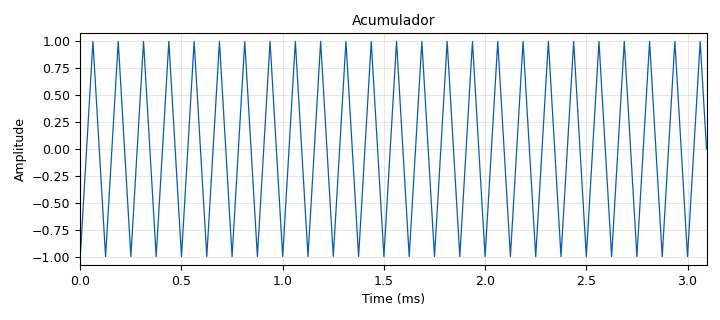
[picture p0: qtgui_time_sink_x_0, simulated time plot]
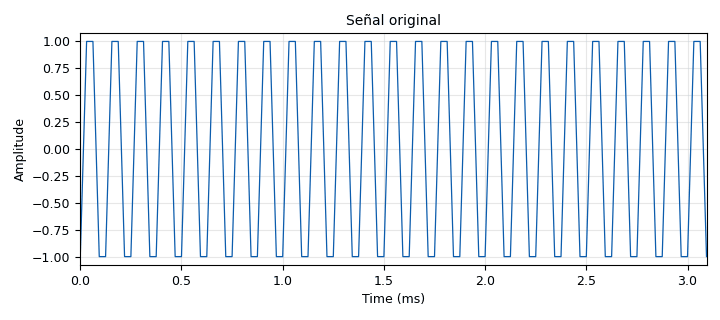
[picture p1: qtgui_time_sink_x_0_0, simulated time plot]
options:
  parameters:
    generate_options: qt_gui
    id: acumulador
    output_language: python
    title: Not titled yet
  states: {}

blocks:
- name: N
  id: variable
  parameters:
    value: '100'
  states: {}
- name: samp_rate
  id: variable
  parameters:
    value: 32e3
  states: {}
- name: analog_sig_source_x_0
  id: analog_sig_source_x
  parameters:
    amp: '1'
    freq: '8000'
    offset: '0'
    phase: '1.5708'
    samp_rate: samp_rate
    type: float
    waveform: analog.GR_SQR_WAVE
  states: {}
- name: blocks_add_const_vxx_0
  id: blocks_add_const_vxx
  parameters:
    const: '-0.5'
    type: float
  states: {}
- name: blocks_multiply_const_vxx_0
  id: blocks_multiply_const_vxx
  parameters:
    const: '2'
    type: float
  states: {}
- name: blocks_throttle2_0
  id: blocks_throttle2
  parameters:
    samples_per_second: samp_rate
    type: float
  states: {}
- name: epy_block_0
  id: epy_block
  parameters:
    _source_code: |-
      import numpy as np
      from gnuradio import gr

      class blk(gr.sync_block):

          def __init__(self):
              gr.sync_block.__init__(
                  self,
                  name='e_Acum',
                  in_sig=[np.float32],
                  out_sig=[np.float32]
              )

              self.acum = 0.0

          def work(self, input_items, output_items):

              x = input_items[0]
              y = output_items[0]

              temp = np.cumsum(x)
              y[:] = temp + self.acum

              self.acum = y[-1]

              return len(output_items[0])
  states: {}
- name: epy_block_1
  id: epy_block
  parameters:
    _source_code: |-
      import numpy as np
      from gnuradio import gr

      class blk(gr.sync_block):

          def __init__(self):
              gr.sync_block.__init__(
                  self,
                  name='e_Diff',
                  in_sig=[np.float32],
                  out_sig=[np.float32]
              )

              self.x_prev = 0.0

          def work(self, input_items, output_items):

              x = input_items[0]
              y = output_items[0]

              y[0] = x[0] - self.x_prev
              y[1:] = x[1:] - x[:-1]

              self.x_prev = x[-1]

              return len(y)
  states: {}
- name: qtgui_time_sink_x_0
  id: qtgui_time_sink_x
  parameters:
    name: '"Acumulador"'
    size: N
    srate: samp_rate
    type: float
  states: {}
- name: qtgui_time_sink_x_0_0
  id: qtgui_time_sink_x
  parameters:
    name: '"Señal original"'
    size: N
    srate: samp_rate
    type: float
  states: {}

connections:
- [analog_sig_source_x_0, '0', blocks_add_const_vxx_0, '0']
- [blocks_add_const_vxx_0, '0', blocks_multiply_const_vxx_0, '0']
- [blocks_multiply_const_vxx_0, '0', epy_block_0, '0']
- [blocks_multiply_const_vxx_0, '0', qtgui_time_sink_x_0_0, '0']
- [blocks_throttle2_0, '0', qtgui_time_sink_x_0, '0']
- [epy_block_0, '0', blocks_throttle2_0, '0']

metadata:
  file_format: 1
  grc_version: 3.10.12.0
